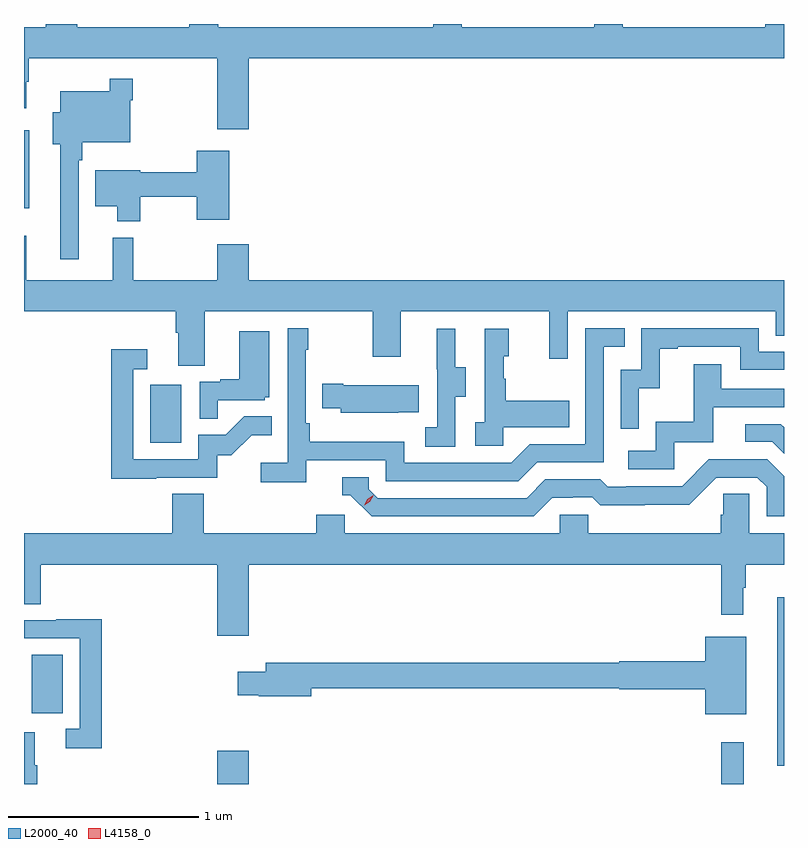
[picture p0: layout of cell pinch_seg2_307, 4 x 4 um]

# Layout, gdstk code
import gdstk
lib = gdstk.Library(unit=1e-6, precision=1e-09)
def R(c, l, rs):  # rectangles x0, y0, x1, y1
    for r in rs: c.add(gdstk.rectangle(r[:2], r[2:], *l))
def P(c, l, *ps):  # polygons
    for p in ps: c.add(gdstk.Polygon(p, *l))
L2000_40 = (2000, 40)
L4158_0 = (4158, 0)

pinch_seg2_307 = lib.new_cell('pinch_seg2_307')
R(pinch_seg2_307, L2000_40, [(944.228,633.161,944.392,633.337), (946.879,633.161,946.997,633.382), (947.174,633.258,947.21,634.144), (943.25,633.534,943.414,633.841), (943.874,634.956,944.038,635.263), (943.21,636.191,943.237,636.601)])
P(pinch_seg2_307, L2000_40, [(944.392,636.98),(947.21,636.98),(947.21,637.161),(947.112,637.161),(947.112,637.144),(946.362,637.144),(946.362,637.161),(946.211,637.161),(946.211,637.144),(945.513,637.144),(945.513,637.161),(945.363,637.161),(945.363,637.144),(944.232,637.144),(944.232,637.161),(944.081,637.161),(944.081,637.144),(943.49,637.144),(943.49,637.161),(943.325,637.161),(943.325,637.144),(943.21,637.144),(943.21,636.717),(943.222,636.717),(943.222,636.857),(943.234,636.857),(943.234,636.98),(944.228,636.98),(944.228,636.606),(944.392,636.606)],
  [(943.497,636.443),(943.517,636.443),(943.517,636.539),(943.77,636.539),(943.77,636.761),(943.783,636.761),(943.783,636.874),(943.662,636.874),(943.662,636.808),(943.4,636.808),(943.4,636.697),(943.361,636.697),(943.361,636.527),(943.4,636.527),(943.4,635.922),(943.497,635.922)],
  [(943.822,636.252),(944.12,636.252),(944.12,636.132),(944.291,636.132),(944.291,636.493),(944.12,636.493),(944.12,636.38),(943.822,636.38),(943.822,636.391),(943.586,636.391),(943.586,636.203),(943.7,636.203),(943.7,636.122),(943.822,636.122)],
  [(944.161,635.648),(945.046,635.648),(945.046,635.409),(945.193,635.409),(945.193,635.648),(945.974,635.648),(945.974,635.4),(946.071,635.4),(946.071,635.648),(947.166,635.648),(947.166,635.521),(947.21,635.521),(947.21,635.812),(944.392,635.812),(944.392,636.001),(944.228,636.001),(944.228,635.812),(943.786,635.812),(943.786,636.037),(943.676,636.037),(943.676,635.812),(943.223,635.812),(943.223,636.046),(943.21,636.046),(943.21,635.648),(944.009,635.648),(944.009,635.536),(944.021,635.536),(944.021,635.362),(944.161,635.362)],
  [(944.696,634.866),(945.114,634.866),(945.114,634.755),(945.811,634.755),(945.91,634.854),(946.26,634.854),(946.26,635.463),(946.373,635.463),(946.373,635.559),(946.164,635.559),(946.164,634.95),(945.873,634.95),(945.774,634.851),(945.21,634.851),(945.21,634.963),(944.714,634.963),(944.714,635.059),(944.694,635.059),(944.694,635.447),(944.707,635.447),(944.707,635.56),(944.598,635.56),(944.598,634.852),(944.457,634.852),(944.457,634.75),(944.696,634.75)],
  [(946.446,635.243),(946.556,635.243),(946.556,635.451),(946.651,635.451),(946.651,635.463),(946.98,635.463),(946.98,635.34),(947.21,635.34),(947.21,635.436),(947.076,635.436),(947.076,635.559),(946.458,635.559),(946.458,635.34),(946.35,635.34),(946.35,635.031),(946.446,635.031)],
  [(945.732,635.039),(946.079,635.039),(946.079,635.179),(945.745,635.179),(945.745,635.294),(945.735,635.294),(945.735,635.412),(945.76,635.412),(945.76,635.557),(945.636,635.557),(945.636,635.066),(945.585,635.066),(945.585,634.941),(945.732,634.941)],
  [(945.48,635.2),(945.535,635.2),(945.535,635.355),(945.481,635.355),(945.481,635.557),(945.383,635.557),(945.383,635.343),(945.384,635.343),(945.384,635.039),(945.321,635.039),(945.321,634.936),(945.48,634.936)],
  [(944.231,635.181),(944.478,635.181),(944.478,635.196),(944.5,635.196),(944.5,635.545),(944.342,635.545),(944.342,635.29),(944.243,635.29),(944.243,635.277),(944.136,635.277),(944.136,635.083),(944.231,635.083)],
  [(943.907,634.773),(944.226,634.773),(944.226,634.89),(944.302,634.89),(944.409,634.997),(944.513,634.997),(944.513,635.096),(944.369,635.096),(944.271,634.998),(944.127,634.998),(944.127,634.869),(943.785,634.869),(943.785,635.343),(943.858,635.343),(943.858,635.449),(943.669,635.449),(943.669,634.768),(943.907,634.768)],
  [(946.632,634.959),(946.837,634.959),(946.837,635.145),(947.21,635.145),(947.21,635.241),(946.879,635.241),(946.879,635.371),(946.735,635.371),(946.735,635.068),(946.536,635.068),(946.536,634.914),(946.389,634.914),(946.389,634.818),(946.632,634.818)],
  [(945.179,635.117),(945.287,635.117),(945.287,635.26),(944.89,635.26),(944.89,635.268),(944.779,635.268),(944.779,635.138),(944.877,635.138),(944.877,635.114),(945.179,635.114)],
  [(947.21,635.039),(947.194,635.055),(947.007,635.055),(947.007,634.962),(947.148,634.962),(947.21,634.9)],
  [(945.991,634.668),(946.098,634.668),(946.098,634.671),(946.201,634.671),(946.243,634.629),(946.476,634.629),(946.476,634.631),(946.712,634.631),(946.854,634.773),(947.07,634.773),(947.118,634.725),(947.118,634.569),(947.21,634.569),(947.21,634.78),(947.121,634.869),(946.815,634.869),(946.674,634.728),(946.381,634.728),(946.381,634.725),(946.282,634.725),(946.243,634.764),(945.954,634.764),(945.855,634.665),(945.072,634.665),(945.024,634.713),(945.024,634.776),(944.885,634.776),(944.885,634.68),(944.928,634.68),(945.039,634.569),(945.892,634.569)],
  [(944.392,634.316),(946.879,634.316),(946.879,634.053),(946.996,634.053),(946.996,634.193),(947.008,634.193),(947.008,634.316),(947.21,634.316),(947.21,634.48),(947.028,634.48),(947.028,634.688),(946.891,634.688),(946.891,634.578),(946.877,634.578),(946.877,634.48),(946.179,634.48),(946.179,634.578),(946.029,634.578),(946.029,634.48),(944.898,634.48),(944.898,634.578),(944.747,634.578),(944.747,634.48),(944.156,634.48),(944.156,634.688),(943.991,634.688),(943.991,634.48),(943.21,634.48),(943.21,634.108),(943.298,634.108),(943.298,634.316),(944.228,634.316),(944.228,633.942),(944.392,633.942)],
  [(943.619,634.028),(943.381,634.028),(943.381,634.023),(943.21,634.023),(943.21,633.927),(943.503,633.927),(943.503,633.453),(943.431,633.453),(943.431,633.348),(943.619,633.348)],
  [(947.011,633.937),(946.796,633.937),(946.796,633.806),(946.344,633.806),(946.344,633.8),(944.483,633.8),(944.483,633.751),(944.334,633.751),(944.334,633.629),(944.446,633.629),(944.446,633.622),(944.722,633.622),(944.722,633.664),(946.344,633.664),(946.344,633.659),(946.796,633.659),(946.796,633.527),(947.011,633.527)],
  [(943.28,633.26),(943.267,633.26),(943.267,633.434),(943.21,633.434),(943.21,633.161),(943.28,633.161)])
P(pinch_seg2_307, L4158_0, [(945,634.628),(945,634.628),(945.016,634.66),(945.047,634.68),(945.047,634.68),(945.047,634.679),(945.031,634.647),(945,634.628)])

lib.write_gds('pinch_seg2_307.gds')
